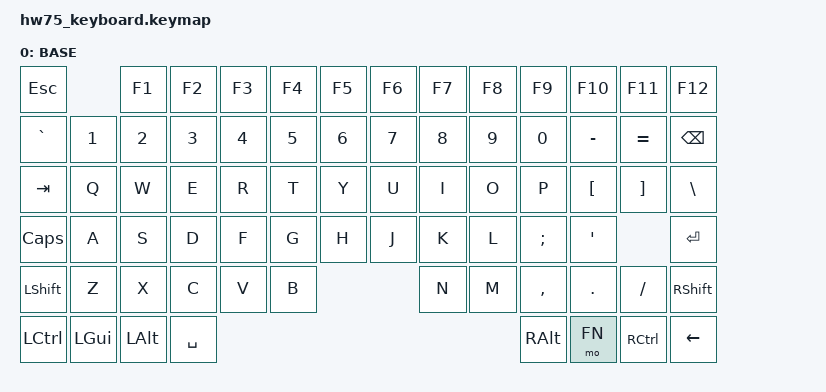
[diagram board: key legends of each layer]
/*
 * Copyright (c) 2022 The ZMK Contributors
 * SPDX-License-Identifier: MIT
 */

#include <behaviors.dtsi>
#include <dt-bindings/zmk/keys.h>
#include <dt-bindings/zmk/rgb.h>

#define BASE 0
#define FN 1
#define TOUCH 2

&sl {
  release-after-ms = <500>;
};

/ {
	keymap {
		compatible = "zmk,keymap";
		base {
			label = "BASE";
			bindings = <
				&kp ESC             &kp F1    &kp F2  &kp F3  &kp F4  &kp F5    &kp F6  &kp F7  &kp F8    &kp F9    &kp F10   &kp F11   &kp F12
				&kp GRAVE &kp N1    &kp N2    &kp N3  &kp N4  &kp N5  &kp N6    &kp N7  &kp N8  &kp N9    &kp N0    &kp MINUS &kp EQUAL &kp BSPC
				&kp TAB   &kp Q     &kp W     &kp E   &kp R   &kp T   &kp Y     &kp U   &kp I   &kp O     &kp P     &kp LBKT  &kp RBKT  &kp BSLH
				&kp CLCK  &kp A     &kp S     &kp D   &kp F   &kp G   &kp H     &kp J   &kp K   &kp L     &kp SEMI  &kp SQT             &kp RET
				&kp LSHFT           &kp Z     &kp X   &kp C   &kp V   &kp B     &kp N   &kp M   &kp COMMA &kp DOT   &kp FSLH  		&kp RSHFT
				&kp LCTRL &kp LGUI  &kp LALT                          &kp SPACE                 	  &kp RALT  &mo FN    &kp RCTRL &kp LEFT
			>;
		};
	};
};
